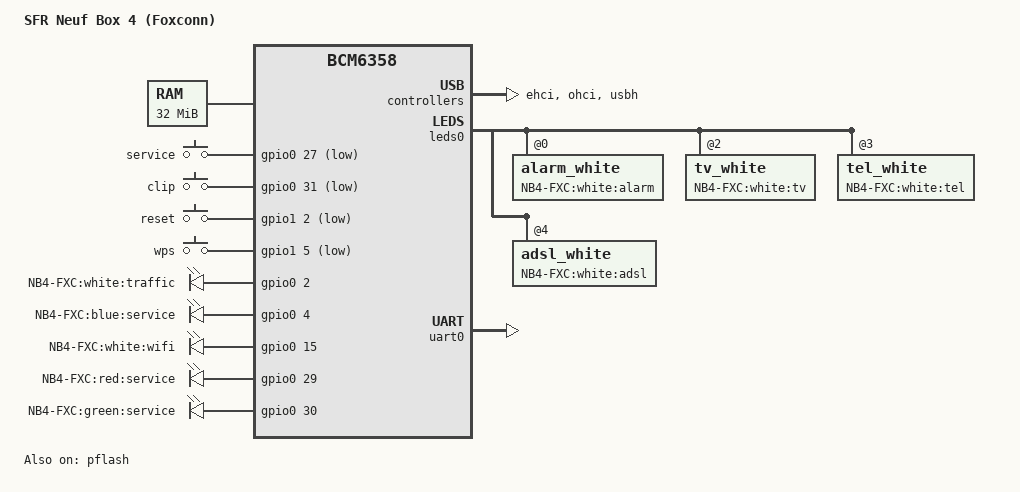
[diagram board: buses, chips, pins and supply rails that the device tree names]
/dts-v1/;

#include "bcm6358.dtsi"

/ {
	compatible = "sfr,nb4-fxc", "brcm,bcm6358";
	model = "SFR Neuf Box 4 (Foxconn)";

	chosen {
		bootargs = "console=ttyS0,115200 earlycon";
	};

	aliases {
		led-boot = &service_blue;
		led-failsafe = &service_red;
		led-running = &service_green;

		led-dsl = &adsl_white;
		led-internet = &traffic_white;
		led-wifi = &wifi_white;
	};

	memory@0 {
		device_type = "memory";
		reg = <0x00000000 0x02000000>;
	};

	gpio-keys-polled {
		compatible = "gpio-keys-polled";
		#address-cells = <1>;
		#size-cells = <0>;
		poll-interval = <20>;
		debounce-interval = <60>;

		service {
			label = "service";
			gpios = <&gpio0 27 GPIO_ACTIVE_LOW>;
			linux,code = <BTN_0>;
		};
		clip {
			label = "clip";
			gpios = <&gpio0 31 GPIO_ACTIVE_LOW>;
			linux,code = <BTN_1>;
		};
		reset {
			label = "reset";
			gpios = <&gpio1 2 GPIO_ACTIVE_LOW>;
			linux,code = <KEY_RESTART>;
		};
		wps {
			label = "wps";
			gpios = <&gpio1 5 GPIO_ACTIVE_LOW>;
			linux,code = <KEY_WPS_BUTTON>;
		};
	};

	gpio-leds {
		compatible = "gpio-leds";

		traffic_white: traffic_white {
			label = "NB4-FXC:white:traffic";
			gpios = <&gpio0 2 GPIO_ACTIVE_HIGH>;
		};
		service_blue: service_blue {
			label = "NB4-FXC:blue:service";
			gpios = <&gpio0 4 GPIO_ACTIVE_HIGH>;
		};
		wifi_white: wifi_white {
			label = "NB4-FXC:white:wifi";
			gpios = <&gpio0 15 GPIO_ACTIVE_HIGH>;
		};
		service_red: service_red {
			label = "NB4-FXC:red:service";
			gpios = <&gpio0 29 GPIO_ACTIVE_HIGH>;
		};
		service_green: service_green {
			label = "NB4-FXC:green:service";
			gpios = <&gpio0 30 GPIO_ACTIVE_HIGH>;
		};
	};
};

&ehci {
	status = "ok";
};

&leds0 {
	status = "ok";
	brcm,clk-div = <1>;

	alarm_white@0 {
		reg = <0>;
		active-low;
		label = "NB4-FXC:white:alarm";
	};
	tv_white@2 {
		reg = <2>;
		active-low;
		label = "NB4-FXC:white:tv";
	};
	tel_white@3 {
		reg = <3>;
		active-low;
		label = "NB4-FXC:white:tel";
	};
	adsl_white: adsl_white@4 {
		reg = <4>;
		active-low;
		label = "NB4-FXC:white:adsl";
	};
};

&ohci {
	status = "ok";
};

&pflash {
	status = "ok";

	partitions {
		compatible = "fixed-partitions";
		#address-cells = <1>;
		#size-cells = <1>;

		cfe@0 {
			label = "cfe";
			reg = <0x000000 0x010000>;
			read-only;
		};
		firmware@10000 {
			label = "firmware";
			reg = <0x010000 0x7e0000>;
		};
		nvram@7f0000 {
			label = "nvram";
			reg = <0x7f0000 0x010000>;
			read-only;
		};
	};
};

&uart0 {
	status = "ok";
};

&usbh {
	status = "ok";
};
